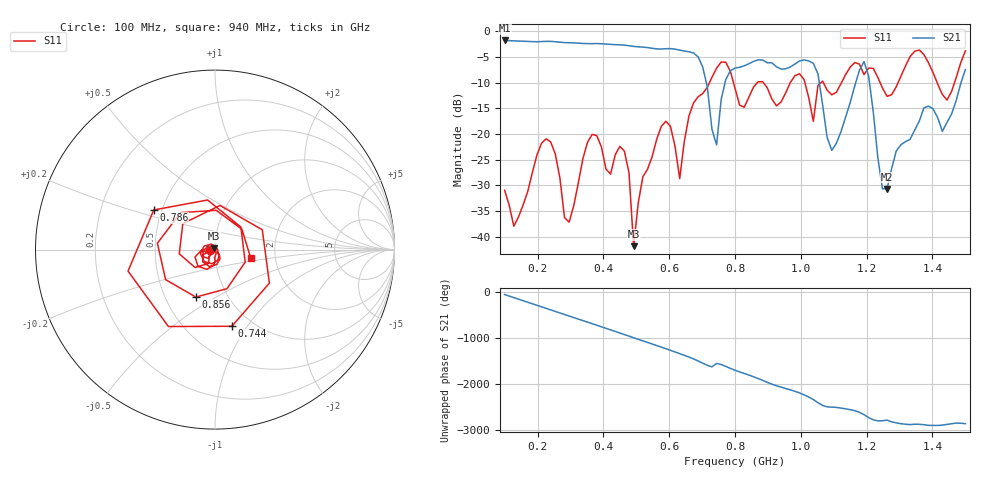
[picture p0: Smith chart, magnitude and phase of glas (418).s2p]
! NanoVNA-App
! Date: 2025-09-25 15:58:44
! Start: 100MHz Stop: 1,5GHz Points: 101
! S-Parameter data: F S11 S21 S12 S22
# Hz S RI R 50
!  Frequency  S11_Real  S11_Imag  S21_Real  S21_Imag  S12_Real  S12_Imag  S22_Real  S22_Imag
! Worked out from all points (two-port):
!   101 points, 100 MHz to 1.5 GHz, reference 50 ohm
!   highest |S21| = -1.80 dB at 100 MHz (marker M1); lowest = -30.7 dB at 1.262 GHz (marker M2)
!   |S21| within 3 dB of the highest: start of sweep to 684.3 MHz
!   lowest |S11| = -41.8 dB at 492 MHz (marker M3), VSWR 1.02, Z = 49.5 + j0.62 ohm
!   |S11| at or under -10 dB: start of sweep to 722.5 MHz; 795.4 MHz to 867.9 MHz (72.49 MHz wide, 8.72 % of centre); 886.2 MHz to 968 MHz (81.79 MHz wide, 8.82 % of centre) (the widest 3 of 7)
!   S12 and S22 are empty: the file has one direction only
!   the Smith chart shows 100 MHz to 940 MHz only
!   S11 on the Smith chart (normalised r, x): 100 MHz: 0.95, -0.01; 744 MHz: 0.81, -0.85; 786 MHz: 0.45, +0.24; 856 MHz: 0.71, -0.41; 940 MHz: 1.49, -0.15
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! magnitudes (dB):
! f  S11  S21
! 100 MHz  -30.9  -1.8
! 128 MHz  -37.9  -1.9
! 226 MHz  -20.9  -2.0
! 296 MHz  -37.1  -2.2
! 338 MHz  -24.7  -2.4
! 464 MHz  -23.3  -2.7
! 492 MHz  -41.8  -3.0
! 576 MHz  -18.5  -3.5
! 632 MHz  -28.7  -3.7
! 702 MHz  -12.1  -7.0
! 744 MHz  -7.2  -22.1
! 786 MHz  -7.8  -7.7
! 800 MHz  -11.1  -7.2
! 856 MHz  -10.9  -5.9
! 940 MHz  -13.8  -7.4
! 996 MHz  -8.3  -5.8
! 1.038 GHz  -17.5  -6.2
! 1.094 GHz  -12.4  -23.2
! 1.192 GHz  -8.4  -5.9
! 1.262 GHz  -12.7  -30.7
! 1.276 GHz  -12.3  -26.7
! 1.5 GHz  -3.8  -7.5
